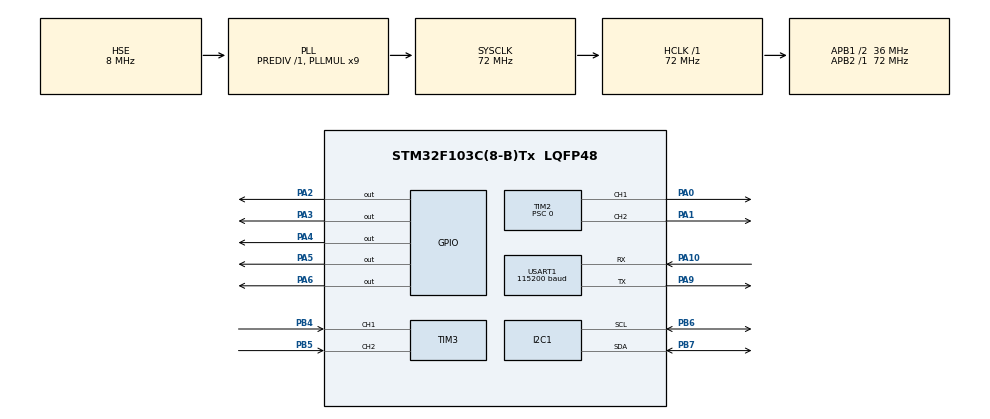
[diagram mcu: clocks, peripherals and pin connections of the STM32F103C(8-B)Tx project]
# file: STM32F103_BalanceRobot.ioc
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I2C1.I2C_Mode=I2C_Fast
Mcu.Family=STM32F1
Mcu.Name=STM32F103C(8-B)Tx
Mcu.Package=LQFP48
NVIC.PriorityGroup=NVIC_PRIORITYGROUP_4
NVIC.TIM4_IRQn=true\:0\:0\:false\:false\:true\:true\:true\:true
NVIC.USART1_IRQn=true\:0\:0\:false\:false\:true\:true\:true\:true
PA0-WKUP.Signal=S_TIM2_CH1_ETR
PA1.Signal=S_TIM2_CH2
PA10.Mode=Asynchronous
PA10.Signal=USART1_RX
PA13.Mode=Serial_Wire
PA13.Signal=SYS_JTMS-SWDIO
PA14.Mode=Serial_Wire
PA14.Signal=SYS_JTCK-SWCLK
PA2.Signal=GPIO_Output
PA3.Signal=GPIO_Output
PA4.Signal=GPIO_Output
PA5.Signal=GPIO_Output
PA6.Signal=GPIO_Output
PA9.Mode=Asynchronous
PA9.Signal=USART1_TX
PB4.Signal=S_TIM3_CH1
PB5.Signal=S_TIM3_CH2
PB6.Mode=I2C
PB6.Signal=I2C1_SCL
PB7.Mode=I2C
PB7.Signal=I2C1_SDA
PD0-OSC_IN.Mode=HSE-External-Oscillator
PD0-OSC_IN.Signal=RCC_OSC_IN
PD1-OSC_OUT.Mode=HSE-External-Oscillator
PD1-OSC_OUT.Signal=RCC_OSC_OUT
ProjectManager.HeapSize=0x200
ProjectManager.StackSize=0x400
ProjectManager.TargetToolchain=MDK-ARM V5.32
RCC.AHBFreq_Value=72000000
RCC.APB1CLKDivider=RCC_HCLK_DIV2
RCC.APB1Freq_Value=36000000
RCC.APB1TimFreq_Value=72000000
RCC.APB2Freq_Value=72000000
RCC.APB2TimFreq_Value=72000000
RCC.HCLKFreq_Value=72000000
RCC.PLLMUL=RCC_PLL_MUL9
RCC.PLLSourceVirtual=RCC_PLLSOURCE_HSE
RCC.SYSCLKFreq_VALUE=72000000
RCC.SYSCLKSource=RCC_SYSCLKSOURCE_PLLCLK
RCC.USBFreq_Value=72000000
SH.S_TIM2_CH1_ETR.0=TIM2_CH1,PWM Generation1 CH1
SH.S_TIM2_CH2.0=TIM2_CH2,PWM Generation2 CH2
SH.S_TIM3_CH1.0=TIM3_CH1,Encoder_Interface
SH.S_TIM3_CH2.0=TIM3_CH2,Encoder_Interface
TIM2.AutoReloadPreload=TIM_AUTORELOAD_PRELOAD_ENABLE
TIM2.Channel-PWM\ Generation1\ CH1=TIM_CHANNEL_1
TIM2.Channel-PWM\ Generation2\ CH2=TIM_CHANNEL_2
TIM2.Period=3599
TIM2.Prescaler=0
TIM3.EncoderMode=TIM_ENCODERMODE_TI12
TIM3.IC1Filter=10
TIM3.IC2Filter=10
TIM4.Period=99
TIM4.Prescaler=7199
USART1.BaudRate=115200
USART1.VirtualMode=VM_ASYNC
VP_TIM2_VS_ClockSourceINT.Mode=Internal
VP_TIM4_VS_ClockSourceINT.Mode=Internal
board=custom

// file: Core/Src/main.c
/* USER CODE BEGIN Header */
/**
 ******************************************************************************
 * @file           : main.c
 * @brief          : Main program body - STM32 Self Balancing Robot
 ******************************************************************************
 */
/* USER CODE END Header */
#include "main.h"

/* USER CODE BEGIN Includes */
#include <string.h>
#include <stdio.h>
#include <stdlib.h>
#include <math.h>

/* Bổ sung Module Debug */
#include "robot_debug.h"
/* USER CODE END Includes */

/* USER CODE BEGIN PTD */
typedef struct
{
    float Kp;
    float Ki;
    float Kd;

    float Ts;

    float setpoint;
    float feedback;
    float output;

    float error;
    float last_error;

    float integral;
    float derivative;

    float P_term;
    float I_term;
    float D_term;

    float outMax;
    float outMin;

    float iMax;
    float iMin;

    float *gyro;      // NULL nếu không dùng gyro
} PID_t;

typedef enum {
    MODE_MANUAL_PWM = 0,
    MODE_PID_SPEED  = 1
} ControlMode_t;

typedef enum {
    PRINT_OFF = 0,
    PRINT_MONITOR,
    PRINT_PLOT,
    PRINT_IMU,
    PRINT_PLOTIMU
} PrintMode_t;
/* USER CODE END PTD */

/* USER CODE BEGIN PD */
#define CONSTRAIN(x, lo, hi)  ((x) < (lo) ? (lo) : ((x) > (hi) ? (hi) : (x)))

/* ===== STATE-BASED RECOVERY CONTROLLER CONFIGURATION =====
 * Recovery là một thuật toán Linear State Feedback không dùng tích lũy:
 * RecoveryAngle = K_SPEED * Speed + K_ACCEL * Acceleration
 */
#define RECOVERY_SPEED_GAIN     0.015f   // Hệ số nhân cho Vận tốc (RPM)
#define RECOVERY_ACCEL_GAIN     0.0008f  // Hệ số nhân cho Gia tốc (RPM/s)
#define RECOVERY_ANGLE_GAIN     0.08f      // mới
#define RECOVERY_GYRO_GAIN      0.015f     // mới
#define ACC_FILTER_ALPHA        0.15f    // LPF coefficient cho gia tốc
#define MAX_RECOVERY_ANGLE      6.0f     // deg - giới hạn góc bù tối đa (default = 2)

#define SPEED_PID_ENABLE        0

#define SPEED_FILTER_ENABLE     1
#define SPEED_FILTER_ALPHA      0.12f

#define SPEED_DEADBAND_ENABLE   1
#define SPEED_DEADBAND_RPM      5.0f

#define SPEED_PID_PERIOD        5

#define SPEED_PID_KP            0.025f
#define SPEED_PID_KI            0.0010f
#define SPEED_PID_KD            0.0f

#define SPEED_PID_OUT_MAX       2.0f
#define SPEED_PID_OUT_MIN      -2.0f

#define SPEED_PID_IMAX          4.0f
#define SPEED_PID_IMIN         -4.0f

#define SPEED_PID_ENABLE_ANGLE  2.0f
#define ANGLE_OFFSET_SLEW       0.05f

#define ENCODER_CPR     1320.0f
#define SAMPLE_TIME     0.01f
#define RPM_FACTOR      (60.0f / (ENCODER_CPR * SAMPLE_TIME))
#define MPU6050_ADDR    (0x68 << 1)
#define DT              0.01f
#define M_PI            3.14159265358979323846
/* USER CODE END PD */

I2C_HandleTypeDef hi2c1;

TIM_HandleTypeDef htim2;
TIM_HandleTypeDef htim3;
TIM_HandleTypeDef htim4;

UART_HandleTypeDef huart1;

/* USER CODE BEGIN PV */
// Control & Mode Flags
volatile ControlMode_t control_mode = MODE_MANUAL_PWM;
volatile PrintMode_t print_mode = PRINT_OFF;
volatile uint8_t print_flag = 0;
uint8_t Enable_SpeedPID = SPEED_PID_ENABLE;

int manual_pwm = 0;
volatile int32_t encoder_position = 0;
volatile int16_t encoder_now = 0;
volatile int16_t encoder_old = 0;
volatile int16_t encoder_delta = 0;

// Các biến lưu tốc độ riêng biệt phục vụ Debug / Serial Plotter
volatile float encoder_rpm = 0.0f;
volatile float speed_raw = 0.0f;
volatile float speed_filtered = 0.0f;
volatile float speed_feedback = 0.0f;
volatile float speed_angle = 0.0f;      // Ngõ ra Speed PID (chính là Angle Offset)
volatile float target_speed = 0.0f;      // Sẵn sàng nhận lệnh tiến/lùi Bluetooth sau này

volatile uint32_t timer_cnt = 0;
volatile uint8_t pid_flag = 0;
volatile float pid_pwm;

// UART CLI Variables
volatile uint8_t rxChar;
char rxBuffer[32];
uint8_t rxIndex = 0;
volatile uint8_t cmdReady = 0;

PID_t Speed_PID;
PID_t Angle_PID;

// MPU Variables
HAL_StatusTypeDef mpuStatus;
uint8_t who_am_i;
uint8_t data;

uint8_t mpuData[16];

int16_t AccX, AccY, AccZ;
int16_t GyroX, GyroY, GyroZ;
int16_t Temp;

float Ax, Ay, Az;
float Gx, Gy, Gz;
float AccAngle = 0.0f;

float PitchAcc = 0.0f;
float Roll = 0.0f;
float RollAcc = 0.0f;
float RollGyro = 0.0f;
float GxOffset = 0.0f;

float Roll_Setpoint = 0.0f;
float BaseBalanceAngle = -0.25f;   // Góc cân bằng cơ khí (hằng số nền, không đổi bởi Recovery)
float BalanceAngle = 0.0f;         // = BaseBalanceAngle + RecoveryAngle, tính lại mỗi vòng lặp

float AngleOffset = 0.0f;

/* ===== STATE-BASED RECOVERY CONTROLLER VARIABLES ===== */
float LeftRPM = 0.0f;
float RightRPM = 0.0f;
float AverageRPM = 0.0f;

float Speed = 0.0f;
float LastSpeed = 0.0f;
float Acceleration = 0.0f;
float acc_filtered = 0.0f;

float RecoveryAngle = 0.0f;
int8_t RecoveryState = 0;
float AngleError = 0.0f;
float AngularVelocity = 0.0f;
/* USER CODE END PV */

void SystemClock_Config(void);
static void MX_GPIO_Init(void);
static void MX_TIM2_Init(void);
static void MX_TIM3_Init(void);
static void MX_TIM4_Init(void);
static void MX_USART1_UART_Init(void);
static void MX_I2C1_Init(void);
/* USER CODE BEGIN PFP */
void Error_Handler(void);
void HAL_TIM_MspPostInit(TIM_HandleTypeDef *htim);
void HAL_TIM_PeriodElapsedCallback(TIM_HandleTypeDef *htim);
void Motor_SetPWM(int left, int right);
void Motor_Left(int pwm);
void Motor_Right(int pwm);
void Encoder_Update(void);
void PID_Init(PID_t *pid);
float PID_Update(PID_t *pid);
void Process_Command(void);
void Process_Print(void);
void MPU6050_GyroCalibration(void);
void MPU6050_Read_Angle(void);
void Control_Loop(void);

// Modules độc lập cho Speed Control
void Speed_Filter(void);
void Speed_Deadband(void);
/* USER CODE END PFP */

/* USER CODE BEGIN 0 */

/* Module LPF Bậc 1 lọc nhiễu vận tốc */
void Speed_Filter(void)
{
#if SPEED_FILTER_ENABLE
    speed_filtered += SPEED_FILTER_ALPHA * (speed_raw - speed_filtered);
#else
    speed_filtered = speed_raw;
#endif
}

/* Module Deadband triệt tiêu rung lắc nhỏ khi đứng yên */
void Speed_Deadband(void)
{
#if SPEED_DEADBAND_ENABLE
    if (fabsf(speed_filtered) < SPEED_DEADBAND_RPM)
    {
        speed_feedback = 0.0f;
    }
    else
    {
        speed_feedback = speed_filtered;
    }
#else
    speed_feedback = speed_filtered;
#endif
}

/* USER CODE END 0 */

int main(void)
{

  /* MCU Configuration--------------------------------------------------------*/

  /* Reset of all peripherals, Initializes the Flash interface and the Systick. */
  HAL_Init();

  /* Configure the system clock */
  SystemClock_Config();

  /* Initialize all configured peripherals */
  MX_GPIO_Init();
  MX_TIM2_Init();
  MX_TIM3_Init();
  MX_TIM4_Init();
  MX_USART1_UART_Init();
  MX_I2C1_Init();
  /* USER CODE BEGIN 2 */
  // Khởi động PWM
  HAL_TIM_PWM_Start(&htim2, TIM_CHANNEL_1);
  HAL_TIM_PWM_Start(&htim2, TIM_CHANNEL_2);
  HAL_GPIO_WritePin(GPIOA, GPIO_PIN_4, GPIO_PIN_SET); // Kích hoạt TB6612

  // Khởi động Encoder TIM3
  HAL_TIM_Encoder_Start(&htim3, TIM_CHANNEL_ALL);
  encoder_old = (int16_t)__HAL_TIM_GET_COUNTER(&htim3);

  // ===== Cấu hình Speed PID =====
  Speed_PID.Kp = SPEED_PID_KP;
  Speed_PID.Ki = SPEED_PID_KI;
  Speed_PID.Kd = SPEED_PID_KD;
  Speed_PID.Ts = (float)SPEED_PID_PERIOD * SAMPLE_TIME; // 5 * 0.01s = 0.05s (50ms)

  Speed_PID.outMax = SPEED_PID_OUT_MAX;
  Speed_PID.outMin = SPEED_PID_OUT_MIN;
  Speed_PID.iMax   = SPEED_PID_IMAX;
  Speed_PID.iMin   = SPEED_PID_IMIN;

  PID_Init(&Speed_PID);
  Speed_PID.gyro = NULL;

  // ===== Cấu hình Angle PID =====
  Angle_PID.Kp = 520.0f;
  Angle_PID.Ki = 20.0f;
  Angle_PID.Kd = 12.0f;
  Angle_PID.Ts = DT;

  Angle_PID.outMax = 3590.0f;
  Angle_PID.outMin = -3590.0f;
  Angle_PID.iMax   = 1300.0f;
  Angle_PID.iMin   = -1300.0f;

  PID_Init(&Angle_PID);
  Angle_PID.gyro = &Gx;

  // Wake up MPU6050
  data = 0x01;
  HAL_I2C_Mem_Write(&hi2c1, MPU6050_ADDR, 0x6B, I2C_MEMADD_SIZE_8BIT, &data, 1, 100);
  HAL_Delay(200);

  // Calibrate Gyro
  MPU6050_GyroCalibration();

  // Đọc góc Roll ban đầu
  if(HAL_I2C_Mem_Read(&hi2c1, MPU6050_ADDR, 0x3B, I2C_MEMADD_SIZE_8BIT, mpuData, 6, 100) == HAL_OK)
  {
      AccX = (int16_t)(mpuData[0] << 8 | mpuData[1]);
      AccY = (int16_t)(mpuData[2] << 8 | mpuData[3]);
      AccZ = (int16_t)(mpuData[4] << 8 | mpuData[5]);

      float ax = (float)AccX / 16384.0f;
      float ay = (float)AccY / 16384.0f;
      float az = (float)AccZ / 16384.0f;

      Roll = atan2f(ay, sqrtf(ax * ax + az * az)) * 180.0f / M_PI;
  }

  // Khởi tạo Module Robot Debug
  RobotDebug_Init(&huart1);

  // Khởi động Ngắt Timer 10ms
  HAL_TIM_Base_Start_IT(&htim4);
  /* USER CODE END 2 */

  /* Infinite loop */
  while (1)
  {

  }
}

void SystemClock_Config(void)
{
  RCC_OscInitTypeDef RCC_OscInitStruct = {0};
  RCC_ClkInitTypeDef RCC_ClkInitStruct = {0};

  /** Initializes the RCC Oscillators according to the specified parameters
  * in the RCC_OscInitTypeDef structure.
  */
  RCC_OscInitStruct.OscillatorType = RCC_OSCILLATORTYPE_HSE;
  RCC_OscInitStruct.HSEState = RCC_HSE_ON;
  RCC_OscInitStruct.HSEPredivValue = RCC_HSE_PREDIV_DIV1;
  RCC_OscInitStruct.HSIState = RCC_HSI_ON;
  RCC_OscInitStruct.PLL.PLLState = RCC_PLL_ON;
  RCC_OscInitStruct.PLL.PLLSource = RCC_PLLSOURCE_HSE;
  RCC_OscInitStruct.PLL.PLLMUL = RCC_PLL_MUL9;
  if (HAL_RCC_OscConfig(&RCC_OscInitStruct) != HAL_OK)
  {
    Error_Handler();
  }

  /** Initializes the CPU, AHB and APB buses clocks
  */
  RCC_ClkInitStruct.ClockType = RCC_CLOCKTYPE_HCLK|RCC_CLOCKTYPE_SYSCLK
                              |RCC_CLOCKTYPE_PCLK1|RCC_CLOCKTYPE_PCLK2;
  RCC_ClkInitStruct.SYSCLKSource = RCC_SYSCLKSOURCE_PLLCLK;
  RCC_ClkInitStruct.AHBCLKDivider = RCC_SYSCLK_DIV1;
  RCC_ClkInitStruct.APB1CLKDivider = RCC_HCLK_DIV2;
  RCC_ClkInitStruct.APB2CLKDivider = RCC_HCLK_DIV1;

  if (HAL_RCC_ClockConfig(&RCC_ClkInitStruct, FLASH_LATENCY_2) != HAL_OK)
  {
    Error_Handler();
  }
}

static void MX_I2C1_Init(void)
{

  hi2c1.Instance = I2C1;
  hi2c1.Init.ClockSpeed = 400000;
  hi2c1.Init.DutyCycle = I2C_DUTYCYCLE_2;
  hi2c1.Init.OwnAddress1 = 0;
  hi2c1.Init.AddressingMode = I2C_ADDRESSINGMODE_7BIT;
  hi2c1.Init.DualAddressMode = I2C_DUALADDRESS_DISABLE;
  hi2c1.Init.OwnAddress2 = 0;
  hi2c1.Init.GeneralCallMode = I2C_GENERALCALL_DISABLE;
  hi2c1.Init.NoStretchMode = I2C_NOSTRETCH_DISABLE;
  if (HAL_I2C_Init(&hi2c1) != HAL_OK)
  {
    Error_Handler();
  }

}

static void MX_TIM2_Init(void)
{

  TIM_ClockConfigTypeDef sClockSourceConfig = {0};
  TIM_MasterConfigTypeDef sMasterConfig = {0};
  TIM_OC_InitTypeDef sConfigOC = {0};

  htim2.Instance = TIM2;
  htim2.Init.Prescaler = 0;
  htim2.Init.CounterMode = TIM_COUNTERMODE_UP;
  htim2.Init.Period = 3599;
  htim2.Init.ClockDivision = TIM_CLOCKDIVISION_DIV1;
  htim2.Init.AutoReloadPreload = TIM_AUTORELOAD_PRELOAD_ENABLE;
  if (HAL_TIM_Base_Init(&htim2) != HAL_OK)
  {
    Error_Handler();
  }
  sClockSourceConfig.ClockSource = TIM_CLOCKSOURCE_INTERNAL;
  if (HAL_TIM_ConfigClockSource(&htim2, &sClockSourceConfig) != HAL_OK)
  {
    Error_Handler();
  }
  if (HAL_TIM_PWM_Init(&htim2) != HAL_OK)
  {
    Error_Handler();
  }
  sMasterConfig.MasterOutputTrigger = TIM_TRGO_RESET;
  sMasterConfig.MasterSlaveMode = TIM_MASTERSLAVEMODE_DISABLE;
  if (HAL_TIMEx_MasterConfigSynchronization(&htim2, &sMasterConfig) != HAL_OK)
  {
    Error_Handler();
  }
  sConfigOC.OCMode = TIM_OCMODE_PWM1;
  sConfigOC.Pulse = 0;
  sConfigOC.OCPolarity = TIM_OCPOLARITY_HIGH;
  sConfigOC.OCFastMode = TIM_OCFAST_DISABLE;
  if (HAL_TIM_PWM_ConfigChannel(&htim2, &sConfigOC, TIM_CHANNEL_1) != HAL_OK)
  {
    Error_Handler();
  }
  if (HAL_TIM_PWM_ConfigChannel(&htim2, &sConfigOC, TIM_CHANNEL_2) != HAL_OK)
  {
    Error_Handler();
  }
  HAL_TIM_MspPostInit(&htim2);

}

static void MX_TIM3_Init(void)
{

  TIM_Encoder_InitTypeDef sConfig = {0};
  TIM_MasterConfigTypeDef sMasterConfig = {0};

  htim3.Instance = TIM3;
  htim3.Init.Prescaler = 0;
  htim3.Init.CounterMode = TIM_COUNTERMODE_UP;
  htim3.Init.Period = 65535;
  htim3.Init.ClockDivision = TIM_CLOCKDIVISION_DIV1;
  htim3.Init.AutoReloadPreload = TIM_AUTORELOAD_PRELOAD_DISABLE;
  sConfig.EncoderMode = TIM_ENCODERMODE_TI12;
  sConfig.IC1Polarity = TIM_ICPOLARITY_RISING;
  sConfig.IC1Selection = TIM_ICSELECTION_DIRECTTI;
  sConfig.IC1Prescaler = TIM_ICPSC_DIV1;
  sConfig.IC1Filter = 10;
  sConfig.IC2Polarity = TIM_ICPOLARITY_RISING;
  sConfig.IC2Selection = TIM_ICSELECTION_DIRECTTI;
  sConfig.IC2Prescaler = TIM_ICPSC_DIV1;
  sConfig.IC2Filter = 10;
  if (HAL_TIM_Encoder_Init(&htim3, &sConfig) != HAL_OK)
  {
    Error_Handler();
  }
  sMasterConfig.MasterOutputTrigger = TIM_TRGO_RESET;
  sMasterConfig.MasterSlaveMode = TIM_MASTERSLAVEMODE_DISABLE;
  if (HAL_TIMEx_MasterConfigSynchronization(&htim3, &sMasterConfig) != HAL_OK)
  {
    Error_Handler();
  }

}

static void MX_TIM4_Init(void)
{

  TIM_ClockConfigTypeDef sClockSourceConfig = {0};
  TIM_MasterConfigTypeDef sMasterConfig = {0};

  htim4.Instance = TIM4;
  htim4.Init.Prescaler = 7199;
  htim4.Init.CounterMode = TIM_COUNTERMODE_UP;
  htim4.Init.Period = 99;
  htim4.Init.ClockDivision = TIM_CLOCKDIVISION_DIV1;
  htim4.Init.AutoReloadPreload = TIM_AUTORELOAD_PRELOAD_DISABLE;
  if (HAL_TIM_Base_Init(&htim4) != HAL_OK)
  {
    Error_Handler();
  }
  sClockSourceConfig.ClockSource = TIM_CLOCKSOURCE_INTERNAL;
  if (HAL_TIM_ConfigClockSource(&htim4, &sClockSourceConfig) != HAL_OK)
  {
    Error_Handler();
  }
  sMasterConfig.MasterOutputTrigger = TIM_TRGO_RESET;
  sMasterConfig.MasterSlaveMode = TIM_MASTERSLAVEMODE_DISABLE;
  if (HAL_TIMEx_MasterConfigSynchronization(&htim4, &sMasterConfig) != HAL_OK)
  {
    Error_Handler();
  }

}

static void MX_USART1_UART_Init(void)
{

  huart1.Instance = USART1;
  huart1.Init.BaudRate = 115200;
  huart1.Init.WordLength = UART_WORDLENGTH_8B;
  huart1.Init.StopBits = UART_STOPBITS_1;
  huart1.Init.Parity = UART_PARITY_NONE;
  huart1.Init.Mode = UART_MODE_TX_RX;
  huart1.Init.HwFlowCtl = UART_HWCONTROL_NONE;
  huart1.Init.OverSampling = UART_OVERSAMPLING_16;
  if (HAL_UART_Init(&huart1) != HAL_OK)
  {
    Error_Handler();
  }

}

static void MX_GPIO_Init(void)
{
  GPIO_InitTypeDef GPIO_InitStruct = {0};

  /* GPIO Ports Clock Enable */
  __HAL_RCC_GPIOD_CLK_ENABLE();
  __HAL_RCC_GPIOA_CLK_ENABLE();
  __HAL_RCC_GPIOB_CLK_ENABLE();

  /*Configure GPIO pin Output Level */
  HAL_GPIO_WritePin(GPIOA, GPIO_PIN_2|GPIO_PIN_3|GPIO_PIN_4|GPIO_PIN_5
                          |GPIO_PIN_6, GPIO_PIN_RESET);

  /*Configure GPIO pins : PA2 PA3 PA4 PA5
                           PA6 */
  GPIO_InitStruct.Pin = GPIO_PIN_2|GPIO_PIN_3|GPIO_PIN_4|GPIO_PIN_5
                          |GPIO_PIN_6;
  GPIO_InitStruct.Mode = GPIO_MODE_OUTPUT_PP;
  GPIO_InitStruct.Pull = GPIO_NOPULL;
  GPIO_InitStruct.Speed = GPIO_SPEED_FREQ_LOW;
  HAL_GPIO_Init(GPIOA, &GPIO_InitStruct);

}

/* USER CODE BEGIN 4 */

void Motor_Left(int pwm)
{
    if(pwm > 3599) pwm = 3599;
    if(pwm < -3599) pwm = -3599;

    if(pwm >= 0)
    {
        HAL_GPIO_WritePin(GPIOA, GPIO_PIN_5, GPIO_PIN_SET);
        HAL_GPIO_WritePin(GPIOA, GPIO_PIN_6, GPIO_PIN_RESET);
        __HAL_TIM_SET_COMPARE(&htim2, TIM_CHANNEL_2, pwm);
    }
    else
    {
        HAL_GPIO_WritePin(GPIOA, GPIO_PIN_5, GPIO_PIN_RESET);
        HAL_GPIO_WritePin(GPIOA, GPIO_PIN_6, GPIO_PIN_SET);
        __HAL_TIM_SET_COMPARE(&htim2, TIM_CHANNEL_2, -pwm);
    }
}

void Motor_Right(int pwm)
{
    if(pwm > 3599) pwm = 3599;
    if(pwm < -3599) pwm = -3599;

    if(pwm >= 0)
    {
        HAL_GPIO_WritePin(GPIOA, GPIO_PIN_2, GPIO_PIN_SET);
        HAL_GPIO_WritePin(GPIOA, GPIO_PIN_3, GPIO_PIN_RESET);
        __HAL_TIM_SET_COMPARE(&htim2, TIM_CHANNEL_1, pwm);
    }
    else
    {
        HAL_GPIO_WritePin(GPIOA, GPIO_PIN_2, GPIO_PIN_RESET);
        HAL_GPIO_WritePin(GPIOA, GPIO_PIN_3, GPIO_PIN_SET);
        __HAL_TIM_SET_COMPARE(&htim2, TIM_CHANNEL_1, -pwm);
    }
}

void Motor_SetPWM(int left, int right)
{
    Motor_Left(left);
    Motor_Right(right);
}

void Encoder_Update(void)
{
    encoder_now = (int16_t)__HAL_TIM_GET_COUNTER(&htim3);
    encoder_delta = encoder_now - encoder_old;
    encoder_old = encoder_now;

    encoder_position += encoder_delta;
    encoder_rpm = (float)encoder_delta * RPM_FACTOR;

    // Gán dữ liệu thô cho Speed Filter
    speed_raw = encoder_rpm;
}

void MPU6050_Read_Angle(void)
{
    if(HAL_I2C_Mem_Read(&hi2c1, MPU6050_ADDR, 0x3B, I2C_MEMADD_SIZE_8BIT, mpuData, 14, 2) == HAL_OK)
    {
        AccX  = (int16_t)(mpuData[0] << 8 | mpuData[1]);
        AccY  = (int16_t)(mpuData[2] << 8 | mpuData[3]);
        AccZ  = (int16_t)(mpuData[4] << 8 | mpuData[5]);
        GyroX = (int16_t)(mpuData[8] << 8 | mpuData[9]);

        Ax = (float)AccX / 16384.0f;
        Ay = (float)AccY / 16384.0f;
        Az = (float)AccZ / 16384.0f;

        Gx = ((float)GyroX / 131.0f) - GxOffset;

        RollAcc = atan2f(Ay, sqrtf(Ax * Ax + Az * Az)) * 180.0f / M_PI;
        Roll = 0.98f * (Roll + Gx * DT) + 0.02f * RollAcc;
    }
    else
    {
        HAL_I2C_DeInit(&hi2c1);
        HAL_I2C_Init(&hi2c1);
    }
}

void Control_Loop(void)
{
    static uint32_t last_tick = 0;
    uint32_t current_tick = HAL_GetTick();
    float loop_time_ms = (float)(current_tick - last_tick);
    if (last_tick == 0) loop_time_ms = 10.0f;
    last_tick = current_tick;

    static uint8_t speed_div = 0;

    //==================================================
    // 1. Đọc cảm biến
    //==================================================
    MPU6050_Read_Angle();
    Encoder_Update();

    Speed_Filter();
    Speed_Deadband();

    //==================================================
    // 2. Speed PID (50 ms)
    //==================================================
    if (Enable_SpeedPID)
    {
        if (++speed_div >= SPEED_PID_PERIOD)
        {
            speed_div = 0;

            if (fabsf(Roll - BalanceAngle) < SPEED_PID_ENABLE_ANGLE)
            {
                Speed_PID.setpoint = target_speed;
                Speed_PID.feedback = speed_feedback;

                speed_angle = PID_Update(&Speed_PID);
            }
            else
            {
                speed_angle = 0.0f;
                Speed_PID.integral = 0.0f;
                Speed_PID.last_error = 0.0f;
            }
        }
    }
    else
    {
        speed_angle = 0.0f;
        Speed_PID.integral = 0.0f;
        Speed_PID.last_error = 0.0f;
    }

    //==================================================
    // 3. Slew Rate Limit cho AngleOffset
    //==================================================
    {
        float delta = speed_angle - AngleOffset;

        if (delta > ANGLE_OFFSET_SLEW)
            delta = ANGLE_OFFSET_SLEW;
        else if (delta < -ANGLE_OFFSET_SLEW)
            delta = -ANGLE_OFFSET_SLEW;

        AngleOffset += delta;
    }

    //==================================================
    // 3.5. STATE-BASED RECOVERY CONTROLLER
    //      Linear State Feedback: RecoveryAngle = K_SPEED * Speed + K_ACCEL * Acceleration
    //==================================================
    LeftRPM = encoder_rpm;
    RightRPM = encoder_rpm;
    AverageRPM = (LeftRPM + RightRPM) * 0.5f;

    // Trạng thái vận tốc hiện tại
    Speed = encoder_rpm;

    // Tính gia tốc thô (RPM/s)
    Acceleration = (Speed - LastSpeed) / DT;
    LastSpeed = Speed;

    // Lọc gia tốc bằng Low-Pass Filter để triệt tiêu nhiễu từ encoder
    acc_filtered += ACC_FILTER_ALPHA * (Acceleration - acc_filtered);

	AngularVelocity = Gx;
	// Tính trực tiếp RecoveryAngle theo trạng thái hiện tại (không tích lũy)
    RecoveryAngle =
      RECOVERY_SPEED_GAIN * Speed
    + RECOVERY_ACCEL_GAIN * acc_filtered
    + RECOVERY_GYRO_GAIN * AngularVelocity;

    // Giới hạn biên độ RecoveryAngle
    RecoveryAngle = CONSTRAIN(RecoveryAngle, -MAX_RECOVERY_ANGLE, MAX_RECOVERY_ANGLE);

    // Cập nhật trạng thái cho RobotDebug
    if (RecoveryAngle > 0.05f)
        RecoveryState = 1;
    else if (RecoveryAngle < -0.05f)
        RecoveryState = -1;
    else
        RecoveryState = 0;

    // Cập nhật góc cân bằng mục tiêu cho Angle PID
    BalanceAngle = BaseBalanceAngle + RecoveryAngle;

    //==================================================
    // 4. Angle PID (10 ms)
    //==================================================
    Angle_PID.setpoint = BalanceAngle + AngleOffset;
    Angle_PID.feedback = Roll;

    pid_pwm = PID_Update(&Angle_PID);

    //==================================================
    // 5. Safety & Output
    //==================================================
    if (fabsf(Roll) > 45.0f)
    {
        Motor_SetPWM(0, 0);

        PID_Init(&Angle_PID);
        PID_Init(&Speed_PID);

        AngleOffset = 0.0f;
        speed_angle = 0.0f;
        speed_filtered = 0.0f;
        speed_feedback = 0.0f;

        // Reset trạng thái Recovery khi xe đổ
        RecoveryAngle = 0.0f;
        Speed = 0.0f;
        LastSpeed = 0.0f;
        Acceleration = 0.0f;
        acc_filtered = 0.0f;
        RecoveryState = 0;
    }
    else
    {
        Motor_SetPWM((int)pid_pwm, (int)pid_pwm);
    }

    //==================================================
    // 6. DEBUG MODULE UPDATE
    //==================================================
    RobotDebug_Update(
        HAL_GetTick(),             // Thời gian (ms)
        Roll,                      // Góc Roll
        Gx,                        // Gx đã được trừ offset
        LeftRPM,                   // LeftRPM
        RightRPM,                  // RightRPM
        pid_pwm,                   // PWM thực tế bánh trái
        pid_pwm,                   // PWM thực tế bánh phải
        Angle_PID.setpoint,        // Setpoint góc (BalanceAngle + AngleOffset)
        Angle_PID.feedback,        // Pitch/Roll feedback
        Angle_PID.error,           // Sai số góc
        Angle_PID.P_term,          // Tỉ lệ P
        Angle_PID.I_term,          // Tích phân I
        Angle_PID.D_term,          // Vi phân D
        Angle_PID.output,          // PID_Output
        AngleOffset,               // Biến AngleOffset từ Speed PID
        loop_time_ms,              // Thời gian thi hành vòng lặp (ms)
        AverageRPM,                // AverageRPM
        Acceleration,              // Gia tốc (thay thế cho DeltaSpeed cũ)
        RecoveryAngle,             // RecoveryAngle
        RecoveryState,             // Flag recovery mode
        BaseBalanceAngle,          // BaseBalanceAngle
        BalanceAngle               // BalanceAngle
    );
}

void HAL_TIM_PeriodElapsedCallback(TIM_HandleTypeDef *htim)
{
    if(htim->Instance == TIM4)
    {
        timer_cnt++;
        pid_flag = 1;
    }
}

void PID_Init(PID_t *pid)
{
    pid->error = 0.0f;
    pid->last_error = 0.0f;
    pid->integral = 0.0f;
    pid->derivative = 0.0f;
    pid->P_term = 0.0f;
    pid->I_term = 0.0f;
    pid->D_term = 0.0f;
    pid->output = 0.0f;
    pid->setpoint = 0.0f;
    pid->feedback = 0.0f;
}

float PID_Update(PID_t *pid)
{
    pid->error = pid->setpoint - pid->feedback;

    // Tích phân
    pid->integral += pid->error * pid->Ts;
    if(pid->integral > pid->iMax) pid->integral = pid->iMax;
    if(pid->integral < pid->iMin) pid->integral = pid->iMin;

    // Vi phân
    if (pid->gyro != NULL)
    {
        // Angle PID dùng trực tiếp Gyro
        pid->derivative = -(*pid->gyro);
    }
    else
    {
        // Speed PID giữ nguyên
        pid->derivative = (pid->error - pid->last_error) / pid->Ts;
    }

    // Thành phần P, I, D
    pid->P_term = pid->Kp * pid->error;
    pid->I_term = pid->Ki * pid->integral;
    pid->D_term = pid->Kd * pid->derivative;

    // Ngõ ra
    pid->output = pid->P_term + pid->I_term + pid->D_term;

    if(pid->output > pid->outMax) pid->output = pid->outMax;
    if(pid->output < pid->outMin) pid->output = pid->outMin;

    pid->last_error = pid->error;

    return pid->output;
}

void Process_Print(void) {}
void Process_Command(void) {}
void HAL_UART_RxCpltCallback(UART_HandleTypeDef *huart) {}
void HAL_UART_ErrorCallback(UART_HandleTypeDef *huart) {}

void MPU6050_GyroCalibration(void)
{
    float sum = 0.0f;
    for(int i = 0; i < 500; i++)
    {
        if(HAL_I2C_Mem_Read(&hi2c1, MPU6050_ADDR, 0x43, I2C_MEMADD_SIZE_8BIT, &mpuData[8], 2, 10) == HAL_OK)
        {
            int16_t raw_gx = (int16_t)(mpuData[8] << 8 | mpuData[9]);
            sum += ((float)raw_gx / 131.0f);
        }
        HAL_Delay(2);
    }
    GxOffset = sum / 500.0f;
}

/* USER CODE END 4 */

void Error_Handler(void)
{
  __disable_irq();
  while (1)
  {
  }
}
